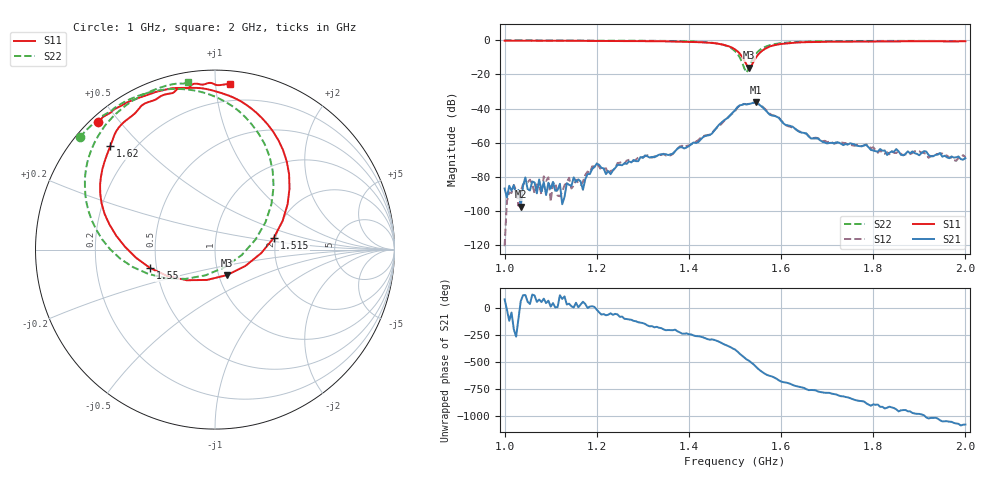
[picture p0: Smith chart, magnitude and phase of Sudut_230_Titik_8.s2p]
# Hz S RI R 50
! CMT, C1220, 16058040, 17.2.0/1
! Date: 14/08/2018 12:07:41
! Data: Format (Calibration Info)
! Freq  S11: Re/Im (F2)  S21: Re/Im (F2)  S12: Re/Im (F2)  S22: Re/Im (F2)
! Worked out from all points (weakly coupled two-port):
!   201 points, 1 GHz to 2 GHz, reference 50 ohm
!   highest |S21| = -36.35 dB at 1.545 GHz (marker M1); lowest = -97.4 dB at 1.035 GHz (marker M2)
!   lowest |S11| = -16.1 dB at 1.53 GHz (marker M3), VSWR 1.37, Z = 54.8 - j15.9 ohm
!   |S11| at or under -10 dB: 1.516 GHz to 1.546 GHz (29.87 MHz wide, 1.95 % of centre)
!   |S22| runs from -19.0 to -0.2 dB; largest |S21 - S12| = 0.00065
!   S11 on the Smith chart (normalised r, x): 1 GHz: 0.02, +0.44; 1.515 GHz: 1.95, +0.29; 1.55 GHz: 0.46, -0.11; 1.62 GHz: 0.12, +0.41; 2 GHz: 0.09, +1.09
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1e9  -0.6543 0.7099  6.77e-06 4.57e-05  1.3e-07 -9.46e-07  -0.7535 0.6254
1.035e9  -0.6292 0.7341  5.84e-06 1.22e-05  -8.87e-06 3.73e-05  -0.7294 0.6523
1.17e9  -0.4866 0.8215  2.14e-05 3.65e-05  3.59e-05 6.32e-05  -0.6164 0.7515
1.2e9  -0.4455 0.8366  0.00024 -6.1e-05  0.000216 -0.000124  -0.5825 0.7648
1.23e9  -0.4079 0.8511  8.14e-05 -8.97e-05  5.53e-05 -0.00014  -0.5605 0.7885
1.245e9  -0.3784 0.8613  0.000119 -0.000191  0.0001 -0.000235  -0.5423 0.8006
1.335e9  -0.2303 0.8996  -0.000448 1.25e-05  -0.000447 3.32e-05  -0.3998 0.8662
1.36e9  -0.1591 0.9008  -0.000422 0.000188  -0.000387 0.000185  -0.3439 0.8814
1.45e9  0.1715 0.8088  0.000649 0.00175  0.000782 0.00175  0.0246 0.8407
1.5e9  0.4152 0.3405  0.00813 -0.00366  0.00766 -0.00347  0.3266 0.3499
1.515e9  0.3281 0.0663  0.00225 -0.0126  0.00259 -0.0127  0.2256 0.0558
1.525e9  0.17 -0.0906  -0.0057 -0.0119  -0.0057 -0.0121  0.0547 -0.0981
1.53e9  0.0672 -0.1418  -0.00832 -0.0107  -0.00839 -0.0108  -0.0528 -0.1433
1.545e9  -0.2652 -0.1475  -0.0152 0.000558  -0.015 0.000267  -0.3718 -0.1354
1.55e9  -0.3607 -0.1032  -0.0128 0.00535  -0.013 0.0049  -0.4565 -0.0978
1.58e9  -0.6319 0.2573  0.000437 0.00625  0.000757 0.00644  -0.7048 0.215
1.62e9  -0.5837 0.5763  0.00298 0.000912  0.00282 0.000882  -0.7085 0.497
1.67e9  -0.4619 0.7459  0.001 -0.000877  0.00106 -0.000882  -0.6255 0.673
1.785e9  -0.2351 0.8727  -0.000834 -0.000241  -0.000838 -0.000332  -0.4447 0.8377
1.835e9  -0.1605 0.8987  -0.000489 0.000133  -0.000371 0.000277  -0.3755 0.8746
1.85e9  -0.1441 0.903  -0.000503 0.000421  -0.00039 0.000323  -0.3552 0.8839
2e9  0.0856 0.9209  0.000356 -7.67e-06  0.000374 -5.93e-05  -0.151 0.9335
